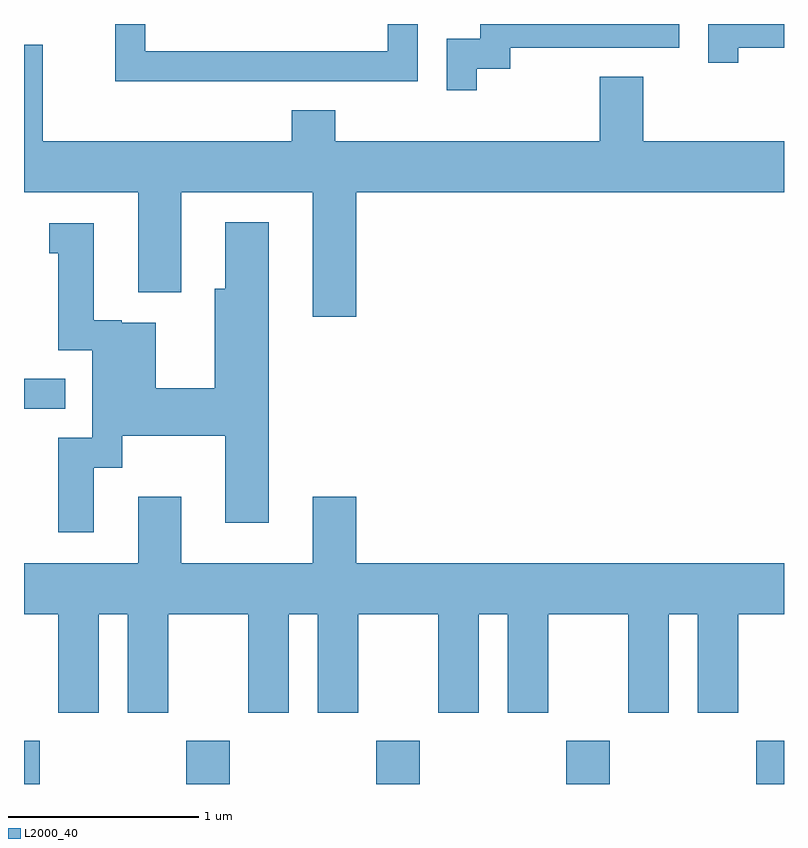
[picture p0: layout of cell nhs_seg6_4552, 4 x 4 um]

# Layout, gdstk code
import gdstk
lib = gdstk.Library(unit=1e-6, precision=1e-09)
def R(c, l, rs):  # rectangles x0, y0, x1, y1
    for r in rs: c.add(gdstk.rectangle(r[:2], r[2:], *l))
def A(c, l, x, y, w, h, nx, ny, dx, dy):  # array of equal rectangles
    R(c, l, [(x+i*dx, y+j*dy, x+i*dx+w, y+j*dy+h) for i in range(nx) for j in range(ny)])
def P(c, l, *ps):  # polygons
    for p in ps: c.add(gdstk.Polygon(p, *l))
L2000_40 = (2000, 40)

nhs_seg6_4552 = lib.new_cell('nhs_seg6_4552')
A(nhs_seg6_4552, L2000_40, 324.466, 1640.162, 0.228, 0.227, 3, 1, 1, 0)
R(nhs_seg6_4552, L2000_40, [(323.611,1640.162,323.694,1640.389), (327.466,1640.162,327.611,1640.389), (323.611,1642.136,323.828,1642.294)])
P(nhs_seg6_4552, L2000_40, [(325.684,1644.162),(325.526,1644.162),(325.526,1644.019),(324.249,1644.019),(324.249,1644.162),(324.091,1644.162),(324.091,1643.861),(325.684,1643.861)],
  [(327.369,1644.036),(327.611,1644.036),(327.611,1644.162),(327.211,1644.162),(327.211,1643.958),(327.369,1643.958)],
  [(325.994,1643.926),(326.169,1643.926),(326.169,1644.036),(327.059,1644.036),(327.059,1644.162),(326.011,1644.162),(326.011,1644.084),(325.836,1644.084),(325.836,1643.813),(325.994,1643.813)],
  [(325.359,1643.276),(327.611,1643.276),(327.611,1643.544),(326.869,1643.544),(326.869,1643.884),(326.641,1643.884),(326.641,1643.544),(325.249,1643.544),(325.249,1643.709),(325.021,1643.709),(325.021,1643.544),(323.709,1643.544),(323.709,1644.054),(323.611,1644.054),(323.611,1643.276),(324.211,1643.276),(324.211,1642.751),(324.439,1642.751),(324.439,1643.276),(325.131,1643.276),(325.131,1642.621),(325.359,1642.621)],
  [(323.979,1641.826),(324.129,1641.826),(324.129,1641.996),(324.671,1641.996),(324.671,1641.536),(324.899,1641.536),(324.899,1643.119),(324.671,1643.119),(324.671,1642.769),(324.616,1642.769),(324.616,1642.244),(324.304,1642.244),(324.304,1642.589),(324.125,1642.589),(324.125,1642.604),(323.979,1642.604),(323.979,1643.114),(323.743,1643.114),(323.743,1642.956),(323.791,1642.956),(323.791,1642.446),(323.971,1642.446),(323.971,1641.984),(323.791,1641.984),(323.791,1641.486),(323.979,1641.486)],
  [(325.359,1641.674),(325.131,1641.674),(325.131,1641.324),(324.439,1641.324),(324.439,1641.674),(324.211,1641.674),(324.211,1641.324),(323.611,1641.324),(323.611,1641.056),(323.791,1641.056),(323.791,1640.536),(324.004,1640.536),(324.004,1641.056),(324.156,1641.056),(324.156,1640.536),(324.369,1640.536),(324.369,1641.056),(324.791,1641.056),(324.791,1640.536),(325.004,1640.536),(325.004,1641.056),(325.156,1641.056),(325.156,1640.536),(325.369,1640.536),(325.369,1641.056),(325.791,1641.056),(325.791,1640.536),(326.004,1640.536),(326.004,1641.056),(326.156,1641.056),(326.156,1640.536),(326.369,1640.536),(326.369,1641.056),(326.791,1641.056),(326.791,1640.536),(327.004,1640.536),(327.004,1641.056),(327.156,1641.056),(327.156,1640.536),(327.369,1640.536),(327.369,1641.056),(327.611,1641.056),(327.611,1641.324),(325.359,1641.324)])

lib.write_gds('nhs_seg6_4552.gds')
